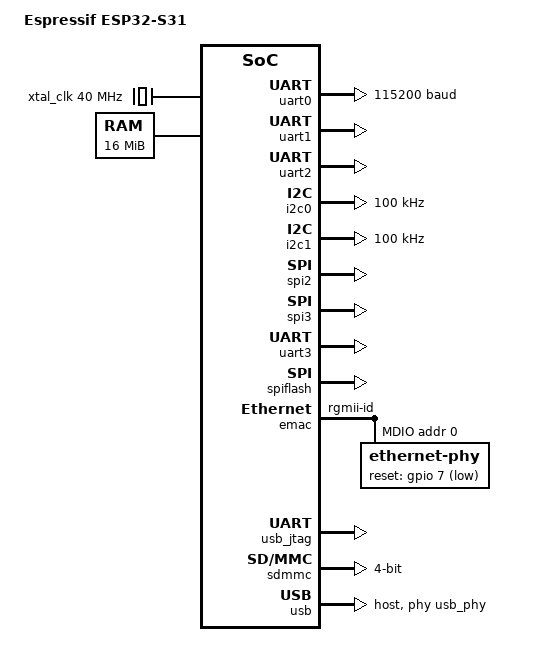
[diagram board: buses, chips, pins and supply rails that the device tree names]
// SPDX-License-Identifier: (GPL-2.0 OR MIT)
/*
 * Espressif ESP32-S31 device tree for NetBSD.
 *
 * Compatible with the bindings used by Espressif's Linux BSP
 * (arch/riscv/boot/dts/espressif/esp32s31.dts on integration/v6.18-esp32s31),
 * so the same blob works for both.  U-Boot passes it to the kernel
 * ("booti 0x40400000 - 0x40200000"); flash it at raw offset 0x300000.
 */

/dts-v1/;

/ {
	compatible = "espressif,esp32s31";
	#address-cells = <1>;
	#size-cells = <1>;
	model = "Espressif ESP32-S31";

	aliases {
		serial0 = &uart0;
		serial1 = &usb_jtag;
	};

	chosen {
		stdout-path = "serial0:115200n8";
	};

	xtal_clk: clock-xtal {
		compatible = "fixed-clock";
		#clock-cells = <0>;
		clock-frequency = <40000000>;
	};

	mpll_clk: clock-mpll {
		compatible = "fixed-clock";
		#clock-cells = <0>;
		clock-frequency = <500000000>;
	};

	cpus {
		#address-cells = <1>;
		#size-cells = <0>;
		timebase-frequency = <320000000>;

		cpu0: cpu@0 {
			device_type = "cpu";
			reg = <0>;
			compatible = "riscv";
			riscv,isa = "rv32imafc_zicsr_zifencei";
			riscv,isa-base = "rv32i";
			/* single-precision FPU only: F, no D */
			riscv,isa-extensions = "i", "m", "a", "f", "c", "zicsr",
					       "zifencei";
			mmu-type = "riscv,sv32";
			clock-frequency = <320000000>;

			cpu0_intc: interrupt-controller {
				#interrupt-cells = <1>;
				interrupt-controller;
				compatible = "riscv,cpu-intc";
			};
		};
	};

	memory@50000000 {
		device_type = "memory";
		reg = <0x50000000 0x01000000>;	/* 16MiB PSRAM */
	};

	soc {
		compatible = "simple-bus";
		#address-cells = <1>;
		#size-cells = <1>;
		ranges;

		/* CLIC, supervisor-mode bank (ids 16-47 delegated by OpenSBI) */
		clic: interrupt-controller@10a00000 {
			compatible = "espressif,esp32s31-clic";
			reg = <0x10a00000 0x2000>;
			interrupt-controller;
			#interrupt-cells = <2>;
			interrupt-parent = <&cpu0_intc>;
		};

		/* interrupt matrix, core 0 view */
		intmtx: interrupt-controller@20585000 {
			compatible = "espressif,esp32s31-intmtx";
			reg = <0x20585000 0x800>;
			interrupt-controller;
			#interrupt-cells = <2>;
			interrupt-parent = <&clic>;
		};

		uart0: serial@2038a000 {
			compatible = "esp,esp32s3-uart";
			reg = <0x2038a000 0x100>;
			clocks = <&clkrst 13>;
			current-speed = <115200>;
			interrupt-parent = <&intmtx>;
			interrupts = <9 4>;		/* IRQ_TYPE_LEVEL_HIGH */
			status = "okay";
		};

		/*
		 * UART1-3 have no pins of their own: put them on free GPIOs
		 * with pinctrl ("espressif,pins"/"espressif,functions", see
		 * the gpio node) or at run time, e.g.
		 *	sysctl -w hw.espgpio0.pin10=uart1_txd
		 *	sysctl -w hw.espgpio0.pin11=uart1_rxd
		 */
		uart1: serial@2038b000 {
			compatible = "espressif,esp32s31-uart";
			reg = <0x2038b000 0x100>;
			clocks = <&clkrst 14>;
			resets = <&clkrst 6>;
			interrupt-parent = <&intmtx>;
			interrupts = <10 4>;
		};

		uart2: serial@2038c000 {
			compatible = "espressif,esp32s31-uart";
			reg = <0x2038c000 0x100>;
			clocks = <&clkrst 15>;
			resets = <&clkrst 7>;
			interrupt-parent = <&intmtx>;
			interrupts = <11 4>;
		};

		/* Main system watchdog of timer group 1 */
		watchdog@20581000 {
			compatible = "espressif,esp32s31-mwdt";
			reg = <0x20581000 0x100>;
			clocks = <&clkrst 31>;
		};

		/*
		 * The LP domain's RTC timer, for the time of day across
		 * resets (kept in LP_SYS STORE10-15), and what it takes to
		 * calibrate its slow clock (timer group 0).
		 */
		rtc@20800000 {
			compatible = "espressif,esp32s31-rtc-timer";
			reg = <0x20800000 0x100>, <0x20700054 0x18>,
			      <0x20701000 0x4>, <0x20580000 0x100>,
			      <0x20587114 0x8>;
		};

		/*
		 * I2C0/1 and GPSPI2/3, pins through the GPIO matrix too
		 * (i2cN_scl, i2cN_sda; spiN_sck, spiN_mosi, spiN_miso,
		 * spiN_cs0..).  I2C devices for kernel drivers go in here as
		 * child nodes, with a pinctrl-0 so that the pins are set up
		 * before they're probed.
		 */
		i2c0: i2c@20385000 {
			compatible = "espressif,esp32s31-i2c";
			reg = <0x20385000 0x200>;
			clocks = <&clkrst 17>;
			resets = <&clkrst 9>;
			clock-frequency = <100000>;
			#address-cells = <1>;
			#size-cells = <0>;
		};

		i2c1: i2c@20386000 {
			compatible = "espressif,esp32s31-i2c";
			reg = <0x20386000 0x200>;
			clocks = <&clkrst 18>;
			resets = <&clkrst 10>;
			clock-frequency = <100000>;
			#address-cells = <1>;
			#size-cells = <0>;
		};

		spi2: spi@2038f000 {
			compatible = "espressif,esp32s31-spi";
			reg = <0x2038f000 0x1000>;
			clocks = <&clkrst 19>;
			resets = <&clkrst 11>;
			num-cs = <4>;
			#address-cells = <1>;
			#size-cells = <0>;
		};

		spi3: spi@20390000 {
			compatible = "espressif,esp32s31-spi";
			reg = <0x20390000 0x1000>;
			clocks = <&clkrst 20>;
			resets = <&clkrst 12>;
			num-cs = <3>;
			#address-cells = <1>;
			#size-cells = <0>;
		};

		uart3: serial@2038d000 {
			compatible = "espressif,esp32s31-uart";
			reg = <0x2038d000 0x100>;
			clocks = <&clkrst 16>;
			resets = <&clkrst 8>;
			interrupt-parent = <&intmtx>;
			interrupts = <12 4>;
		};

		trng: rng@20814000 {
			compatible = "espressif,esp32s31-trng";
			reg = <0x20814000 0x100>, <0x2071003c 0x4>;
			reg-names = "trng", "clkrst";
		};

		/*
		 * Root file system at flash offset 0x900000, read through the
		 * XIP window (which maps flash 0x100000 and up at 0x40000000).
		 */
		rootfs: flash@40800000 {
			compatible = "espressif,esp32s31-xip-rootfs";
			reg = <0x40800000 0x00400000>;
		};

		/*
		 * The flash's writable partition, at 0x200000 (1 MB, between
		 * U-Boot and its device tree), through the MSPI controller's
		 * SPI1 port.  /etc/rc mounts it on /persist.
		 */
		spiflash: flash@20501000 {
			compatible = "espressif,esp32s31-spi-flash";
			reg = <0x20501000 0x1000>, <0x20500000 0x1000>;
			reg-names = "spi1", "spi0";
			espressif,partition = <0x00200000 0x00100000>;
		};

		/*
		 * Radio co-processor: ESP-IDF's Wi-Fi and Bluetooth stacks on
		 * hart 1.  The firmware is at flash offset 0xd00000 and runs in
		 * place; its RAM parts go above OpenSBI in the HP SRAM and in
		 * LP RAM.  FROM_CPU interrupt 1 rings it, 2 rings us.
		 */
		coproc: coprocessor@40c00000 {
			compatible = "espressif,esp32s31-coproc";
			reg = <0x40c00000 0x00300000>,
			      <0x2f030000 0x0004afc0>,
			      <0x2e000000 0x00008000>,
			      <0x20586010 0x00000010>;
			reg-names = "firmware", "sram", "lpram", "doorbell";
			interrupt-parent = <&intmtx>;
			interrupts = <67 4>;
		};

		/*
		 * Clock gates and resets in HP_SYS_CLKRST and CNNT_SYS; the
		 * cells are Espressif's dt-bindings ids.
		 */
		clkrst: clock-controller@20587000 {
			compatible = "espressif,esp32s31-clkrst";
			reg = <0x20587000 0x400>,	/* HP_SYS_CLKRST */
			      <0x20359000 0x100>,	/* CNNT_SYS */
			      <0x20586000 0x400>,	/* HP_SYSTEM */
			      <0x20710000 0x100>;	/* LP_PERI_CLKRST */
			clocks = <&xtal_clk>, <&mpll_clk>;
			clock-names = "xtal", "mpll";
			#clock-cells = <1>;
			#reset-cells = <1>;
		};

		/* Connectivity system registers (EMAC/USB/SDIO glue) */
		cnnt_sys: syscon@20359000 {
			compatible = "espressif,esp32s31-cnnt-sys", "syscon";
			reg = <0x20359000 0x100>;
		};

		/* IO_MUX, GPIO + GPIO matrix, CNNT dedicated pads */
		gpio: pinctrl@20582000 {
			compatible = "espressif,esp32s31-gpio";
			reg = <0x20582000 0x100>, <0x20583000 0xe00>,
			      <0x20588000 0x400>;
			clocks = <&clkrst 0>, <&clkrst 1>;
			clock-names = "apb", "iomux";
			gpio-controller;
			#gpio-cells = <2>;
			/* flash/PSRAM, USB PHY, console */
			gpio-reserved-ranges = <26 7>, <33 2>, <58 2>;

			/* pinmux = <(pin << 16) | function> */
			emac_pins: emac-pins {
				pinmux = <0x050005>,	/* GPIO5  MDC */
					 <0x060006>,	/* GPIO6  MDIO */
					 <0x080004>,	/* GPIO8-12 TXD0-3, TX_CTL */
					 <0x090004>,
					 <0x0a0004>,
					 <0x0b0004>,
					 <0x0c0004>,
					 <0x0d0004>,	/* GPIO13 TX_CLK */
					 <0x0e0004>,	/* GPIO14-19 RX_CLK, RX_CTL, RXD3-0 */
					 <0x0f0004>,
					 <0x100004>,
					 <0x110004>,
					 <0x120004>,
					 <0x130004>;
				input-enable;
				bias-disable;
				drive-strength = <20>;
			};

			/* SD slot 0: function 7 is the dedicated SDIO path */
			sdmmc_pins: sdmmc-pins {
				pinmux = <0x140007>,	/* GPIO20-23 DAT0-3 */
					 <0x150007>,
					 <0x160007>,
					 <0x170007>,
					 <0x180007>,	/* GPIO24 CLK */
					 <0x190007>;	/* GPIO25 CMD */
				input-enable;
				bias-pull-up;
				drive-strength = <20>;
			};
		};

		/*
		 * Ethernet: DesignWare GMAC 3.70a, RGMII to a Motorcomm YT8531
		 * on Espressif's dev board.  DMA is not cache coherent.
		 */
		emac: ethernet@20350000 {
			compatible = "espressif,esp32s31-dwmac", "snps,dwmac-3.70a";
			reg = <0x20350000 0x2000>;
			interrupt-parent = <&intmtx>;
			interrupts = <98 4>;
			clocks = <&clkrst 6>, <&clkrst 7>, <&clkrst 10>;
			clock-names = "stmmaceth", "ref", "ptp_ref";
			resets = <&clkrst 3>;
			reset-names = "stmmaceth";
			espressif,cnnt-sys = <&cnnt_sys>;
			snps,force_thresh_dma_mode;
			snps,txpbl = <32>;
			snps,rxpbl = <8>;
			snps,no-pbl-x8;
			snps,mixed-burst;
			phy-mode = "rgmii-id";
			pinctrl-names = "default";
			pinctrl-0 = <&emac_pins>;
			max-speed = <100>;

			mdio {
				compatible = "snps,dwmac-mdio";
				#address-cells = <1>;
				#size-cells = <0>;

				ethernet-phy@0 {
					reg = <0>;
					reset-gpios = <&gpio 7 1>;	/* active low */
					reset-assert-us = <10000>;
					reset-deassert-us = <500000>;
				};
			};
		};

		systimer: timer@20399000 {
			compatible = "espressif,esp32s31-systimer";
			reg = <0x20399000 0x100>;
			clock-frequency = <16000000>;
			interrupt-parent = <&intmtx>;
			interrupts = <33 4>;		/* IRQ_TYPE_LEVEL_HIGH */
			interrupt-names = "target0";
		};

		/*
		 * USB-Serial/JTAG: the CDC-ACM port on the board's "USB"
		 * connector.  Set stdout-path to "serial1" to make it the
		 * console.
		 */
		usb_jtag: serial@20391000 {
			compatible = "esp,esp32s31-usb-serial-jtag",
			    "esp,esp32s3-acm";
			reg = <0x20391000 0x1000>;
			interrupt-parent = <&intmtx>;
			interrupts = <2 4>;
		};

		/*
		 * SD/MMC host (DesignWare MSHC).  The dev board's microSD
		 * socket is on slot 0, the dedicated pads GPIO20-25, at
		 * 3.3V; there is no card-detect line.
		 */
		sdmmc: mmc@20342000 {
			compatible = "espressif,esp32s31-dw-mshc", "snps,dw-mshc";
			reg = <0x20342000 0x1000>;
			interrupt-parent = <&intmtx>;
			interrupts = <3 4>;
			clocks = <&clkrst 11>, <&clkrst 12>;
			clock-names = "biu", "ciu";
			resets = <&clkrst 5>;
			pinctrl-names = "default";
			pinctrl-0 = <&sdmmc_pins>;
			bus-width = <4>;
			max-frequency = <50000000>;
			cap-sd-highspeed;
			broken-cd;
		};

		/* HP_ALIVE_SYS: USB PHY power and line state, among others */
		hp_alive_sys: syscon@20589000 {
			compatible = "esp,esp32s31-hp-alive-sys", "syscon";
			reg = <0x20589000 0x100>;
		};

		usb_phy: usb-phy@20380000 {
			compatible = "esp,esp32s31-usb-phy";
			reg = <0x20380000 0x20>;
			#phy-cells = <0>;
			clocks = <&clkrst 9>;		/* USB_OTGHS_PHYREF */
			clock-names = "ref";
			esp,hp-alive-sys = <&hp_alive_sys>;
			esp,cnnt-sys = <&cnnt_sys>;
		};

		/* USB 2.0 OTG-HS: a DesignWare HS OTG controller, host mode */
		usb: usb@20300000 {
			compatible = "esp,esp32s31-hsotg", "snps,dwc2";
			reg = <0x20300000 0x40000>;
			interrupt-parent = <&intmtx>;
			interrupts = <99 4>;
			clocks = <&clkrst 8>;		/* USB_OTGHS_BUS */
			clock-names = "otg";
			resets = <&clkrst 4>;		/* USB_OTGHS */
			reset-names = "dwc2";
			phys = <&usb_phy>;
			phy-names = "usb2-phy";
			dr_mode = "host";
		};
	};
};
